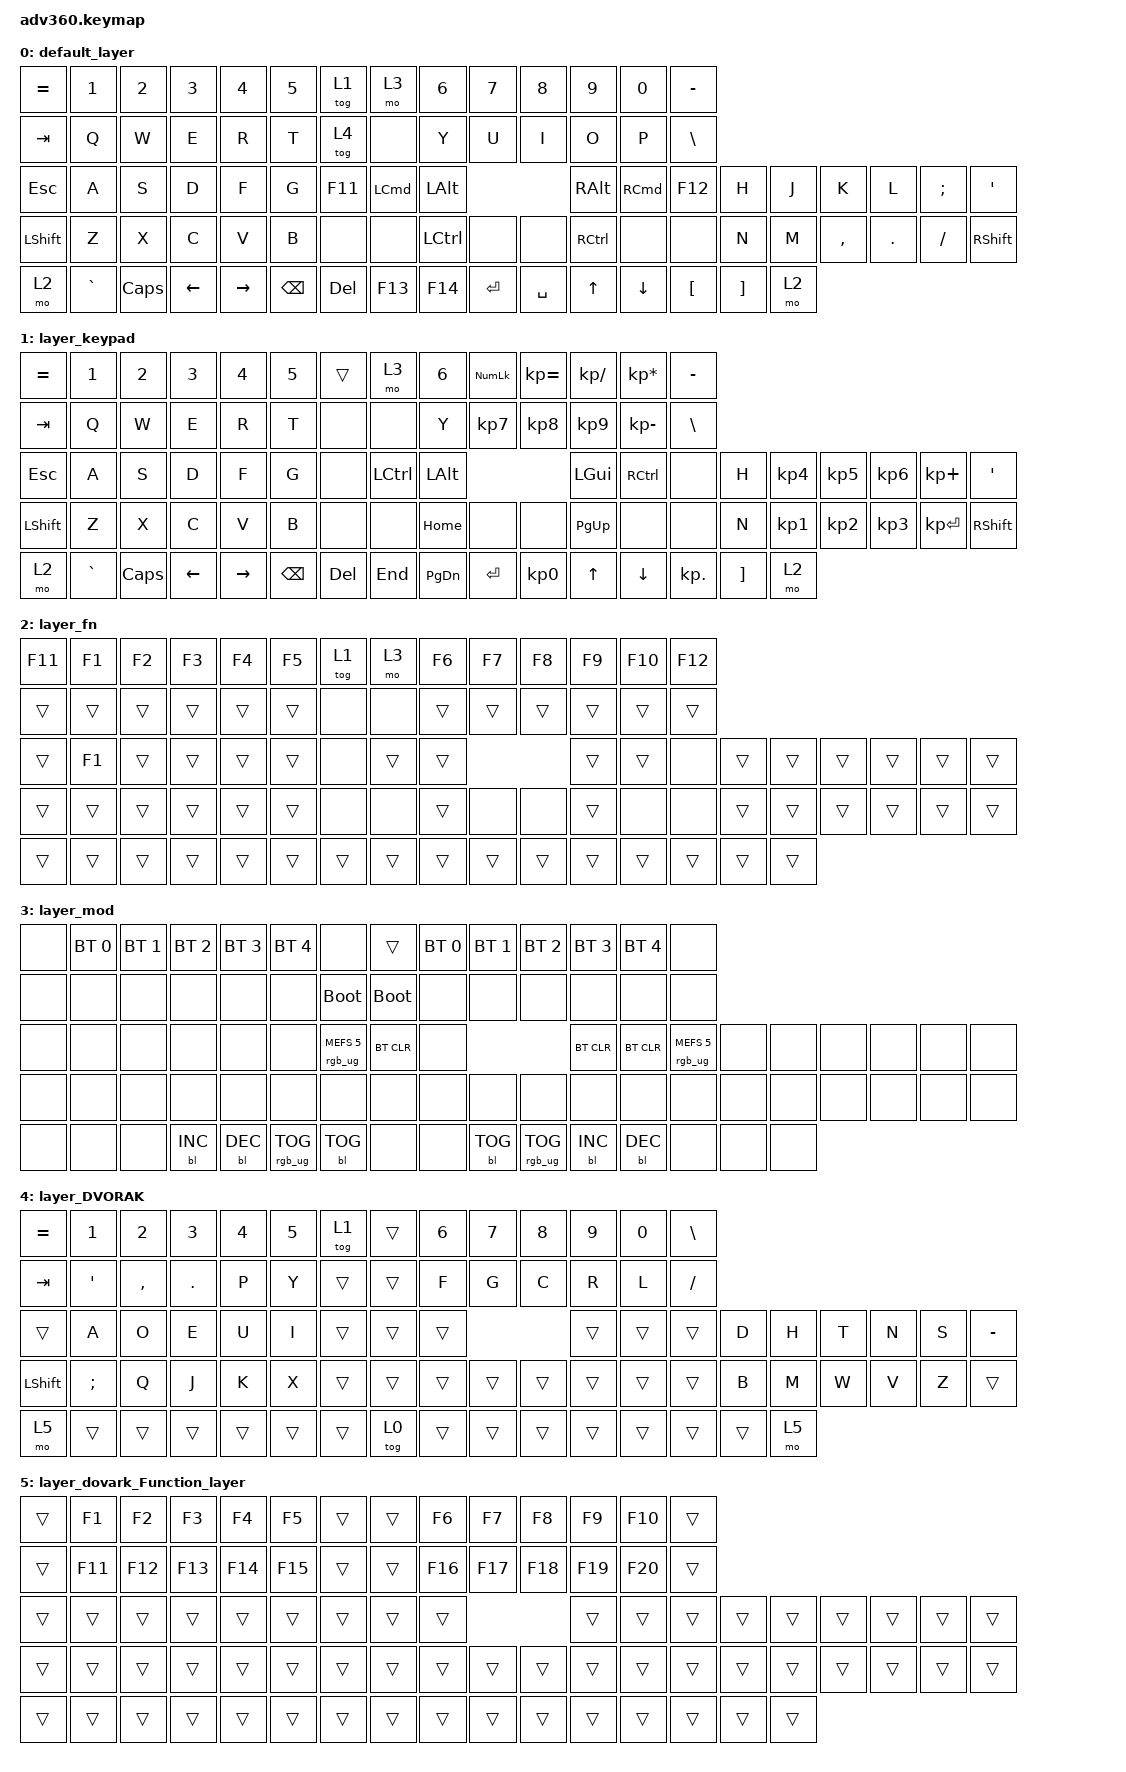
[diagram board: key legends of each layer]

/*
 * Copyright (c) 2020 The ZMK Contributors
 *
 * SPDX-License-Identifier: MIT
 */


/* THIS FILE WAS GENERATED!
 *
 * This file was generated automatically. You may or may not want to
 * edit it directly.
 */

#include <behaviors.dtsi>
#include <dt-bindings/zmk/keys.h>
#include <dt-bindings/zmk/bt.h>
#include <dt-bindings/zmk/rgb.h>
#include <dt-bindings/zmk/backlight.h>

/ {
  behaviors {
    #include "macros.dtsi"

    hm: homerow_mods {
        compatible = "zmk,behavior-hold-tap";
        label = "HOMEROW_MODS";
        #binding-cells = <2>;
        tapping-term-ms = <200>;
        quick_tap_ms = <175>;
        flavor = "tap-preferred";
        bindings = <&kp>, <&kp>;
    };
  };

    keymap {
        compatible = "zmk,keymap";


        default_layer {
            bindings = <
 &kp EQUAL     &kp N1    &kp N2    &kp N3     &kp N4    &kp N5             &tog 1     &mo 3     &kp N6     &kp N7     &kp N8         &kp N9             &kp N0  &kp MINUS
   &kp TAB      &kp Q     &kp W     &kp E      &kp R     &kp T             &tog 4     &none      &kp Y      &kp U      &kp I          &kp O              &kp P   &kp BSLH
   &kp ESC      &kp A     &kp S     &kp D      &kp F     &kp G            &kp F11  &kp LCMD   &kp LALT                        &kp RIGHT_ALT  &kp RIGHT_COMMAND    &kp F12     &kp H   &kp J      &kp K    &kp L  &kp SEMI    &kp SQT
 &kp LSHFT      &kp Z     &kp X     &kp C      &kp V     &kp B              &none     &none  &kp LCTRL      &none      &none      &kp RCTRL              &none      &none     &kp N   &kp M  &kp COMMA  &kp DOT  &kp FSLH  &kp RSHFT
     &mo 2  &kp GRAVE  &kp CAPS  &kp LEFT  &kp RIGHT  &kp BSPC            &kp DEL   &kp F13    &kp F14  &kp ENTER  &kp SPACE         &kp UP           &kp DOWN   &kp LBKT  &kp RBKT   &mo 2
            >;
        };

        layer_keypad {
            bindings = <
 &kp EQUAL     &kp N1    &kp N2    &kp N3     &kp N4    &kp N5             &trans      &mo 3     &kp N6  &kp KP_NUM  &kp KP_EQUAL  &kp KP_DIVIDE  &kp KP_MULTIPLY   &kp MINUS
   &kp TAB      &kp Q     &kp W     &kp E      &kp R     &kp T              &none      &none      &kp Y   &kp KP_N7     &kp KP_N8      &kp KP_N9     &kp KP_MINUS    &kp BSLH
   &kp ESC      &kp A     &kp S     &kp D      &kp F     &kp G              &none  &kp LCTRL   &kp LALT                                 &kp LGUI        &kp RCTRL       &none     &kp H  &kp KP_N4  &kp KP_N5  &kp KP_N6   &kp KP_PLUS    &kp SQT
 &kp LSHFT      &kp Z     &kp X     &kp C      &kp V     &kp B              &none      &none   &kp HOME       &none         &none      &kp PG_UP            &none       &none     &kp N  &kp KP_N1  &kp KP_N2  &kp KP_N3  &kp KP_ENTER  &kp RSHFT
     &mo 2  &kp GRAVE  &kp CAPS  &kp LEFT  &kp RIGHT  &kp BSPC            &kp DEL    &kp END  &kp PG_DN   &kp ENTER     &kp KP_N0         &kp UP         &kp DOWN  &kp KP_DOT  &kp RBKT      &mo 2
            >;
        };

        layer_fn {
            bindings = <
 &kp F11  &kp F1  &kp F2  &kp F3  &kp F4  &kp F5            &tog 1   &mo 3  &kp F6  &kp F7  &kp F8  &kp F9  &kp F10  &kp F12
  &trans  &trans  &trans  &trans  &trans  &trans             &none   &none  &trans  &trans  &trans  &trans   &trans   &trans
  &trans  &kp F1  &trans  &trans  &trans  &trans             &none  &trans  &trans                  &trans   &trans    &none  &trans  &trans  &trans  &trans  &trans  &trans
  &trans  &trans  &trans  &trans  &trans  &trans             &none   &none  &trans   &none   &none  &trans    &none    &none  &trans  &trans  &trans  &trans  &trans  &trans
  &trans  &trans  &trans  &trans  &trans  &trans            &trans  &trans  &trans  &trans  &trans  &trans   &trans   &trans  &trans  &trans
            >;
        };

        layer_mod {
            bindings = <
  &none  &bt BT_SEL 0  &bt BT_SEL 1  &bt BT_SEL 2  &bt BT_SEL 3     &bt BT_SEL 4                             &none       &trans  &bt BT_SEL 0  &bt BT_SEL 1     &bt BT_SEL 2  &bt BT_SEL 3  &bt BT_SEL 4                   &none
  &none         &none         &none         &none         &none            &none                       &bootloader  &bootloader         &none         &none            &none         &none         &none                   &none
  &none         &none         &none         &none         &none            &none            &rgb_ug RGB_MEFS_CMD 5   &bt BT_CLR         &none                                   &bt BT_CLR    &bt BT_CLR  &rgb_ug RGB_MEFS_CMD 5   &none   &none   &none   &none   &none   &none
  &none         &none         &none         &none         &none            &none                             &none        &none         &none         &none            &none         &none         &none                   &none   &none   &none   &none   &none   &none   &none
  &none         &none         &none    &bl BL_INC    &bl BL_DEC  &rgb_ug RGB_TOG                        &bl BL_TOG        &none         &none    &bl BL_TOG  &rgb_ug RGB_TOG    &bl BL_INC    &bl BL_DEC                   &none   &none   &none
            >;
        };

        layer_DVORAK {
            bindings = <
 &kp EQUAL            &kp N1     &kp N2   &kp N3  &kp N4  &kp N5            &tog 1  &trans  &kp N6  &kp N7  &kp N8  &kp N9  &kp N0  &kp BACKSLASH
   &kp TAB  &kp SINGLE_QUOTE  &kp COMMA  &kp DOT   &kp P   &kp Y            &trans  &trans   &kp F   &kp G   &kp C   &kp R   &kp L      &kp SLASH
    &trans             &kp A      &kp O    &kp E   &kp U   &kp I            &trans  &trans  &trans                  &trans  &trans         &trans   &kp D   &kp H   &kp T   &kp N   &kp S  &kp MINUS
 &kp LSHFT     &kp SEMICOLON      &kp Q    &kp J   &kp K   &kp X            &trans  &trans  &trans  &trans  &trans  &trans  &trans         &trans   &kp B   &kp M   &kp W   &kp V   &kp Z     &trans
     &mo 5            &trans     &trans   &trans  &trans  &trans            &trans  &tog 0  &trans  &trans  &trans  &trans  &trans         &trans  &trans   &mo 5
            >;
        };

        layer_dovark_Function_layer {
            bindings = <
 &trans   &kp F1   &kp F2   &kp F3   &kp F4   &kp F5            &trans  &trans   &kp F6   &kp F7   &kp F8   &kp F9  &kp F10  &trans
 &trans  &kp F11  &kp F12  &kp F13  &kp F14  &kp F15            &trans  &trans  &kp F16  &kp F17  &kp F18  &kp F19  &kp F20  &trans
 &trans   &trans   &trans   &trans   &trans   &trans            &trans  &trans   &trans                     &trans   &trans  &trans  &trans  &trans  &trans  &trans  &trans  &trans
 &trans   &trans   &trans   &trans   &trans   &trans            &trans  &trans   &trans   &trans   &trans   &trans   &trans  &trans  &trans  &trans  &trans  &trans  &trans  &trans
 &trans   &trans   &trans   &trans   &trans   &trans            &trans  &trans   &trans   &trans   &trans   &trans   &trans  &trans  &trans  &trans
            >;
        };

    };
};
